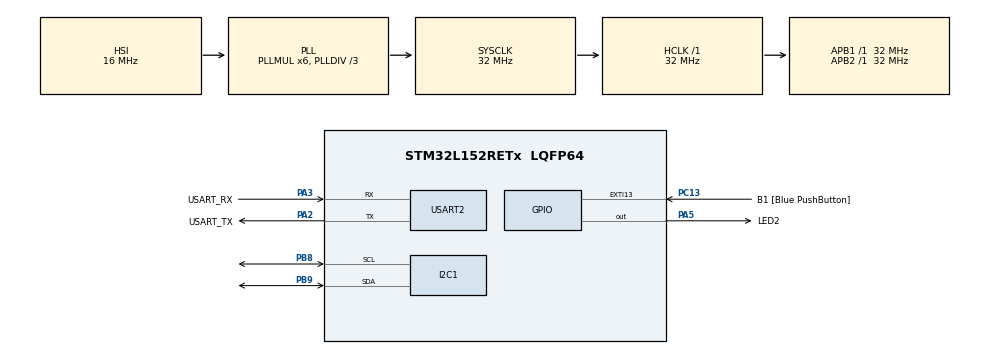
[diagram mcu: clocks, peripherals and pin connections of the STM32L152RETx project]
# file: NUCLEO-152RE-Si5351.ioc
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Mcu.Family=STM32L1
Mcu.Name=STM32L152RETx
Mcu.Package=LQFP64
NVIC.PriorityGroup=NVIC_PRIORITYGROUP_0
PA13.GPIO_Label=TMS
PA13.Mode=Serial_Wire
PA13.Signal=SYS_JTMS-SWDIO
PA14.GPIO_Label=TCK
PA14.Mode=Serial_Wire
PA14.Signal=SYS_JTCK-SWCLK
PA2.GPIO_Label=USART_TX
PA2.Mode=Asynchronous
PA2.Signal=USART2_TX
PA3.GPIO_Label=USART_RX
PA3.Mode=Asynchronous
PA3.Signal=USART2_RX
PA5.GPIO_Label=LED2
PA5.Signal=GPIO_Output
PB3.GPIO_Label=SWO
PB3.Signal=SYS_JTDO-TRACESWO
PB8.Mode=I2C
PB8.Signal=I2C1_SCL
PB9.Mode=I2C
PB9.Signal=I2C1_SDA
PC13-WKUP2.GPIO_Label=B1 [Blue PushButton]
PC13-WKUP2.Signal=GPXTI13
PC14-OSC32_IN.Mode=LSE-External-Oscillator
PC14-OSC32_IN.Signal=RCC_OSC32_IN
PC15-OSC32_OUT.Mode=LSE-External-Oscillator
PC15-OSC32_OUT.Signal=RCC_OSC32_OUT
PH0-OSC_IN.Mode=HSE-External-Clock-Source
PH0-OSC_IN.Signal=RCC_OSC_IN
PH1-OSC_OUT.Signal=RCC_OSC_OUT
ProjectManager.HeapSize=0x200
ProjectManager.StackSize=0x400
ProjectManager.TargetToolchain=STM32CubeIDE
RCC.48MHZClocksFreq_Value=48000000
RCC.AHBFreq_Value=32000000
RCC.APB1Freq_Value=32000000
RCC.APB1TimFreq_Value=32000000
RCC.APB2Freq_Value=32000000
RCC.APB2TimFreq_Value=32000000
RCC.HCLKFreq_Value=32000000
RCC.HSE_VALUE=8000000
RCC.HSI_VALUE=16000000
RCC.MSI_VALUE=2097000
RCC.PLLDIV=RCC_PLL_DIV3
RCC.PLLMUL=RCC_PLL_MUL6
RCC.RTCClockSelectionVirtual=RCC_RTCCLKSOURCE_LSE
RCC.SYSCLKFreq_VALUE=32000000
RCC.SYSCLKSource=RCC_SYSCLKSOURCE_PLLCLK
RCC.USBOutput=48000000
RCC.VCOOutputFreq_Value=96000000
USART2.VirtualMode=VM_ASYNC
board=NUCLEO-L152RE

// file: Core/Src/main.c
/* USER CODE BEGIN Header */
/**
 ******************************************************************************
 * @file           : main.c
 * @brief          : Main program body
 ******************************************************************************
 * @attention
 *
 * Copyright (c) 2024 STMicroelectronics.
 * All rights reserved.
 *
 * This software is licensed under terms that can be found in the LICENSE file
 * in the root directory of this software component.
 * If no LICENSE file comes with this software, it is provided AS-IS.
 *
 ******************************************************************************
 */
/* USER CODE END Header */
#include "main.h"

/* USER CODE BEGIN Includes */
#include <string.h>

#include "si5351.h"
/* USER CODE END Includes */

I2C_HandleTypeDef hi2c1;

UART_HandleTypeDef huart2;

void SystemClock_Config(void);
static void MX_GPIO_Init(void);
static void MX_USART2_UART_Init(void);
static void MX_I2C1_Init(void);
/* USER CODE BEGIN PFP */
void I2C_Scan(void);
/* USER CODE END PFP */

/* USER CODE BEGIN 0 */
char test[] = "Hello World L152RE\n";

void UART_TransmitString(const char *str) {
	HAL_UART_Transmit(&huart2, (uint8_t*) str, strlen(str), HAL_MAX_DELAY);
}

void I2C_Scan() {
	UART_TransmitString("Scanning I2C bus...\r\n");
	HAL_StatusTypeDef res;
	for (uint16_t i = 0; i < 128; i++) {
		res = HAL_I2C_IsDeviceReady(&hi2c1, i << 1, 1, 10);
		if (res == HAL_OK) {
			char msg[64];
			snprintf(msg, sizeof(msg), "0x%02X", i);
			UART_TransmitString(msg);
		} else {
			UART_TransmitString(".");
		}
	}

	UART_TransmitString("\r\n");
}

void init() {
	UART_TransmitString("Calling I2C_Scan()...\r\n");
	I2C_Scan();

	UART_TransmitString("Initializing Si5351...\r\n");
	const int32_t correction = 978;
	si5351_Init(correction);
	si5351_SetupCLK0(28000000, SI5351_DRIVE_STRENGTH_4MA);
	si5351_SetupCLK2(144000000, SI5351_DRIVE_STRENGTH_4MA);
	si5351_EnableOutputs((1 << 0) | (1 << 2));

	UART_TransmitString("Ready!\r\n");
}

void loop() {
	HAL_GPIO_TogglePin(GPIOC, GPIO_PIN_13);
	HAL_Delay(1000);
}
/* USER CODE END 0 */

int main(void) {

	/* MCU Configuration--------------------------------------------------------*/

	/* Reset of all peripherals, Initializes the Flash interface and the Systick. */
	HAL_Init();

	/* Configure the system clock */
	SystemClock_Config();

	/* Initialize all configured peripherals */
	MX_GPIO_Init();
	MX_USART2_UART_Init();
	MX_I2C1_Init();
	/* USER CODE BEGIN 2 */
	//I2C_Scan();
	init();
	/* USER CODE END 2 */

	/* Infinite loop */
	while (1) {
		loop();
//		HAL_GPIO_TogglePin(LED2_GPIO_Port, LED2_Pin);
//		HAL_Delay(200);
//		HAL_GPIO_TogglePin(LED2_GPIO_Port, LED2_Pin);
//		HAL_Delay(200);
	}
}

void SystemClock_Config(void) {
	RCC_OscInitTypeDef RCC_OscInitStruct = { 0 };
	RCC_ClkInitTypeDef RCC_ClkInitStruct = { 0 };

	/** Configure the main internal regulator output voltage
	 */
	__HAL_PWR_VOLTAGESCALING_CONFIG(PWR_REGULATOR_VOLTAGE_SCALE1);

	/** Initializes the RCC Oscillators according to the specified parameters
	 * in the RCC_OscInitTypeDef structure.
	 */
	RCC_OscInitStruct.OscillatorType = RCC_OSCILLATORTYPE_HSI;
	RCC_OscInitStruct.HSIState = RCC_HSI_ON;
	RCC_OscInitStruct.HSICalibrationValue = RCC_HSICALIBRATION_DEFAULT;
	RCC_OscInitStruct.PLL.PLLState = RCC_PLL_ON;
	RCC_OscInitStruct.PLL.PLLSource = RCC_PLLSOURCE_HSI;
	RCC_OscInitStruct.PLL.PLLMUL = RCC_PLL_MUL6;
	RCC_OscInitStruct.PLL.PLLDIV = RCC_PLL_DIV3;
	if (HAL_RCC_OscConfig(&RCC_OscInitStruct) != HAL_OK) {
		Error_Handler();
	}

	/** Initializes the CPU, AHB and APB buses clocks
	 */
	RCC_ClkInitStruct.ClockType = RCC_CLOCKTYPE_HCLK | RCC_CLOCKTYPE_SYSCLK
			| RCC_CLOCKTYPE_PCLK1 | RCC_CLOCKTYPE_PCLK2;
	RCC_ClkInitStruct.SYSCLKSource = RCC_SYSCLKSOURCE_PLLCLK;
	RCC_ClkInitStruct.AHBCLKDivider = RCC_SYSCLK_DIV1;
	RCC_ClkInitStruct.APB1CLKDivider = RCC_HCLK_DIV1;
	RCC_ClkInitStruct.APB2CLKDivider = RCC_HCLK_DIV1;

	if (HAL_RCC_ClockConfig(&RCC_ClkInitStruct, FLASH_LATENCY_1) != HAL_OK) {
		Error_Handler();
	}
}

static void MX_I2C1_Init(void) {

	hi2c1.Instance = I2C1;
	hi2c1.Init.ClockSpeed = 100000;
	hi2c1.Init.DutyCycle = I2C_DUTYCYCLE_2;
	hi2c1.Init.OwnAddress1 = 0;
	hi2c1.Init.AddressingMode = I2C_ADDRESSINGMODE_7BIT;
	hi2c1.Init.DualAddressMode = I2C_DUALADDRESS_DISABLE;
	hi2c1.Init.OwnAddress2 = 0;
	hi2c1.Init.GeneralCallMode = I2C_GENERALCALL_DISABLE;
	hi2c1.Init.NoStretchMode = I2C_NOSTRETCH_DISABLE;
	if (HAL_I2C_Init(&hi2c1) != HAL_OK) {
		Error_Handler();
	}

}

static void MX_USART2_UART_Init(void) {

	huart2.Instance = USART2;
	huart2.Init.BaudRate = 115200;
	huart2.Init.WordLength = UART_WORDLENGTH_8B;
	huart2.Init.StopBits = UART_STOPBITS_1;
	huart2.Init.Parity = UART_PARITY_NONE;
	huart2.Init.Mode = UART_MODE_TX_RX;
	huart2.Init.HwFlowCtl = UART_HWCONTROL_NONE;
	huart2.Init.OverSampling = UART_OVERSAMPLING_16;
	if (HAL_UART_Init(&huart2) != HAL_OK) {
		Error_Handler();
	}

}

static void MX_GPIO_Init(void) {
	GPIO_InitTypeDef GPIO_InitStruct = { 0 };

	/* GPIO Ports Clock Enable */
	__HAL_RCC_GPIOC_CLK_ENABLE();
	__HAL_RCC_GPIOH_CLK_ENABLE();
	__HAL_RCC_GPIOA_CLK_ENABLE();
	__HAL_RCC_GPIOB_CLK_ENABLE();

	/*Configure GPIO pin Output Level */
	HAL_GPIO_WritePin(LED2_GPIO_Port, LED2_Pin, GPIO_PIN_RESET);

	/*Configure GPIO pin : B1_Pin */
	GPIO_InitStruct.Pin = B1_Pin;
	GPIO_InitStruct.Mode = GPIO_MODE_IT_RISING;
	GPIO_InitStruct.Pull = GPIO_NOPULL;
	HAL_GPIO_Init(B1_GPIO_Port, &GPIO_InitStruct);

	/*Configure GPIO pin : LED2_Pin */
	GPIO_InitStruct.Pin = LED2_Pin;
	GPIO_InitStruct.Mode = GPIO_MODE_OUTPUT_PP;
	GPIO_InitStruct.Pull = GPIO_NOPULL;
	GPIO_InitStruct.Speed = GPIO_SPEED_FREQ_LOW;
	HAL_GPIO_Init(LED2_GPIO_Port, &GPIO_InitStruct);

}

/* USER CODE BEGIN 4 */
void I2C_Scan_my(void) {
	printf("Scanning I2C bus:\r\n");
	HAL_StatusTypeDef result;
	uint8_t i;
	for (i = 1; i < 128; i++) {
		/*
		 * the HAL wants a left aligned i2c address
		 * &hi2c1 is the handle
		 * (uint16_t)(i<<1) is the i2c address left aligned
		 * retries 2
		 * timeout 2
		 */
		result = HAL_I2C_IsDeviceReady(&hi2c1, (uint16_t) (i << 1), 2, 2);
		if (result != HAL_OK) // HAL_ERROR or HAL_BUSY or HAL_TIMEOUT
				{
			printf("."); // No ACK received at that address
			sprintf(test, ".");
			HAL_UART_Transmit(&huart2, (uint8_t*) test, strlen(test), 1);
		}
		if (result == HAL_OK) {
			printf("0x%X", i); // Received an ACK at that address
			sprintf(test, "0x%X", i);
			HAL_UART_Transmit(&huart2, (uint8_t*) test, strlen(test), 100);
		}
	}
	printf("\r\n");
}

/* Send a char through ITM */
int _write(int file, char *ptr, int len) {
	int DataIdx;
	for (DataIdx = 0; DataIdx < len; DataIdx++) {
		ITM_SendChar(*ptr++);
	}
	return len;
}
/* USER CODE END 4 */

void Error_Handler(void) {
	__disable_irq();
	while (1) {
	}
}
